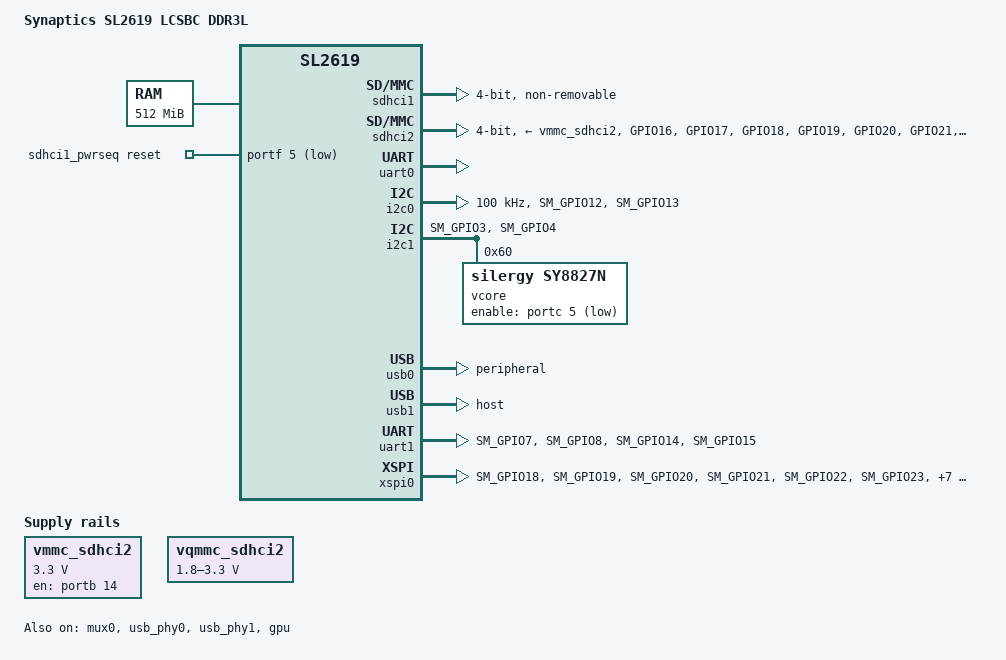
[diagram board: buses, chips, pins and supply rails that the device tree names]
// SPDX-License-Identifier: (GPL-2.0 OR MIT)
/*
 * Copyright (C) 2025 Synaptics Incorporated
 *
 * Author: Jisheng Zhang <jszhang@kernel.org>
 */


/dts-v1/;

#include <dt-bindings/gpio/gpio.h>
#include <dt-bindings/input/linux-event-codes.h>

#include "sl2619.dtsi"

/ {
	model = "Synaptics SL2619 LCSBC DDR3L";
	compatible = "syna,sl2619-lcsbc-ddr3l", "syna,sl2619";

	cpus {
		cpu@0 {
			cpu0-supply = <&vcore>;
		};
	};

	chosen {
		stdout-path = "serial0:115200n8";
	};

	memory {
		device_type = "memory";
		reg = <0x0 0x01000000 0x0 0x20000000>;
	};

	reserved-memory {
		#address-cells = <2>;
		#size-cells = <2>;
		ranges;

		vdev0vring0: vdev0vring0@0 {
			compatible = "shared-dma-pool";
			reg = <0 0x0000000 0 0x8000>;
			no-map;
		};

		vdev0vring1: vdev0vring1@8000 {
			compatible = "shared-dma-pool";
			reg = <0 0x0008000 0 0x8000>;
			no-map;
		};

		vdevbuffer: vdevbuffer {
			compatible = "shared-dma-pool";
			reg = <0 0x0010000 0 0xf0000>;
			no-map;
		};
	};

	rpmsg {
		compatible = "syna,rpmsg";
		mbox-names = "rpmsg";
		mboxes = <&ipc 0>;
		syna,vdev-nums = <1>;
		reg = <0x0 0x0000000 0x0 0x10000>;
		memory-region = <&vdevbuffer>;
	};

	sdhci1_pwrseq: sdhci1-pwrseq {
		compatible = "mmc-pwrseq-simple";
		pinctrl-0 = <&wl_reg_pmux>;
		pinctrl-names = "default";
		reset-gpios = <&portf 5 GPIO_ACTIVE_LOW>;
		post-power-on-delay-ms = <50>;
	};

	regulators {
		compatible = "simple-bus";
		#address-cells = <1>;
		#size-cells = <0>;

		vmmc_sdhci2: vmmc_sdhci2 {
			compatible = "regulator-fixed";
			regulator-min-microvolt = <3300000>;
			regulator-max-microvolt = <3300000>;
			regulator-name = "vmmc_sdio";
			enable-active-high;
			regulator-boot-on;
			gpio = <&portb 14 GPIO_ACTIVE_HIGH>;
		};

		vqmmc_sdhci2: vqmmc_sdhci2 {
			compatible = "regulator-gpio";
			regulator-min-microvolt = <1800000>;
			regulator-max-microvolt = <3300000>;
			regulator-name = "vqmmc_sdio";
			regulator-type = "voltage";
			enable-active-high;
			gpios = <&portb 15 GPIO_ACTIVE_HIGH>;
			states = <1800000 0x0
				  3300000 0x1>;
		};
	};
};

&pinctrl {
	sdhci2_pmux: sdhci2-pmux {
		groups = "GPIO16", "GPIO17", "GPIO18", "GPIO19", "GPIO20", "GPIO21", "GPIO22";
		function = "sdio2";
		drive-strength = <7>;
	};

	sdhci2_gpio_pmux: sdhci2_gpio-pmux {
		groups = "GPIO46", "GPIO47";
		function = "gpio";
		drive-strength = <7>;
	};
};

&sm_pinctrl {
	i2c0_pmux: i2c0-pmux {
		groups = "SM_GPIO12", "SM_GPIO13";
		function = "tw0";
		drive-strength = <7>;
	};

	i2c1_pmux: i2c1-pmux {
		groups = "SM_GPIO3", "SM_GPIO4";
		function = "tw1";
		drive-strength = <7>;
	};

	vcore_gpio_pmux: vcore-gpio-pmux {
		groups = "SM_GPIO5";
		function = "gpio";
	};

	uart1_pmux: uart1-pmux {
		groups = "SM_GPIO7", "SM_GPIO8", "SM_GPIO14", "SM_GPIO15";
		function = "uart1";
		drive-strength = <7>;
	};

	wl_reg_pmux: wl_reg-pmux {
		groups = "SM_GPIO37";
		function = "gpio";
	};

	xspi0_pmux: xspi0-pmux {
		groups = "SM_GPIO18", "SM_GPIO19", "SM_GPIO20", "SM_GPIO21", "SM_GPIO22", "SM_GPIO23", "SM_GPIO24",
			 "SM_GPIO25","SM_GPIO26", "SM_GPIO27", "SM_GPIO28", "SM_GPIO29", "SM_GPIO30";
		function = "xspi";
		drive-strength = <7>;
	};
};

&ipc {
	status = "okay";
};

&mux0 {
	status = "okay";
};

&pdma0 {
	status = "okay";
};

&sdhci1 {
	status = "okay";
	bus-width = <4>;
	sdclkdl-dc = /bits/ 8 <50>;
	pad-sp = /bits/ 8 <12>;
	pad-sn = /bits/ 8 <12>;
	no-sd;
	no-mmc;
	non-removable;
	mmc-pwrseq = <&sdhci1_pwrseq>;
	mode1-tune;
	keep-power-in-suspend;
};

&sdhci2 {
	status = "okay";
	pinctrl-0 = <&sdhci2_pmux>, <&sdhci2_gpio_pmux>;
	pinctrl-names = "default";
	bus-width = <4>;
	no-sdio;
	no-mmc;
	disable-wp;
	vmmc-supply = <&vmmc_sdhci2>;
	vqmmc-supply = <&vqmmc_sdhci2>;
	mux-states = <&mux0 0 3>;
};

&uart0 {
	status = "okay";
};

&i2c0 {
	status = "okay";
	pinctrl-names = "default";
	pinctrl-0 = <&i2c0_pmux>;
	no-irq-suspend;
	clock-frequency = <100000>;
};

&i2c1 {
	status = "okay";
	pinctrl-names = "default";
	pinctrl-0 = <&i2c1_pmux>;

	vcore: regulator@60 {
		compatible = "silergy,sy8827n";
		regulator-name = "vcore";
		regulator-min-microvolt = <700000>;
		regulator-max-microvolt = <987500>;
		regulator-always-on;
		regulator-boot-on;
		regulator-active-discharge = <0>;
		pinctrl-names = "default";
		pinctrl-0 = <&vcore_gpio_pmux>;
		enable-gpios = <&portc 5 GPIO_ACTIVE_LOW>;
		silergy,vsel-step = <1>;
		reg = <0x60>;
	};
};

&usb0 {
	status = "okay";
	dr_mode = "peripheral";
};

&usb_phy0 {
	status = "okay";
};

&usb1 {
	status = "okay";
	dr_mode = "host";
};

&usb_phy1{
	status = "okay";
};

&uart1 {
	status = "okay";
	pinctrl-0 = <&uart1_pmux>;
	pinctrl-names = "default";
};

&gpu {
	status = "okay";
};

&xspi0 {
	status = "okay";
	pinctrl-0 = <&xspi0_pmux>;
	pinctrl-names = "default";
};
